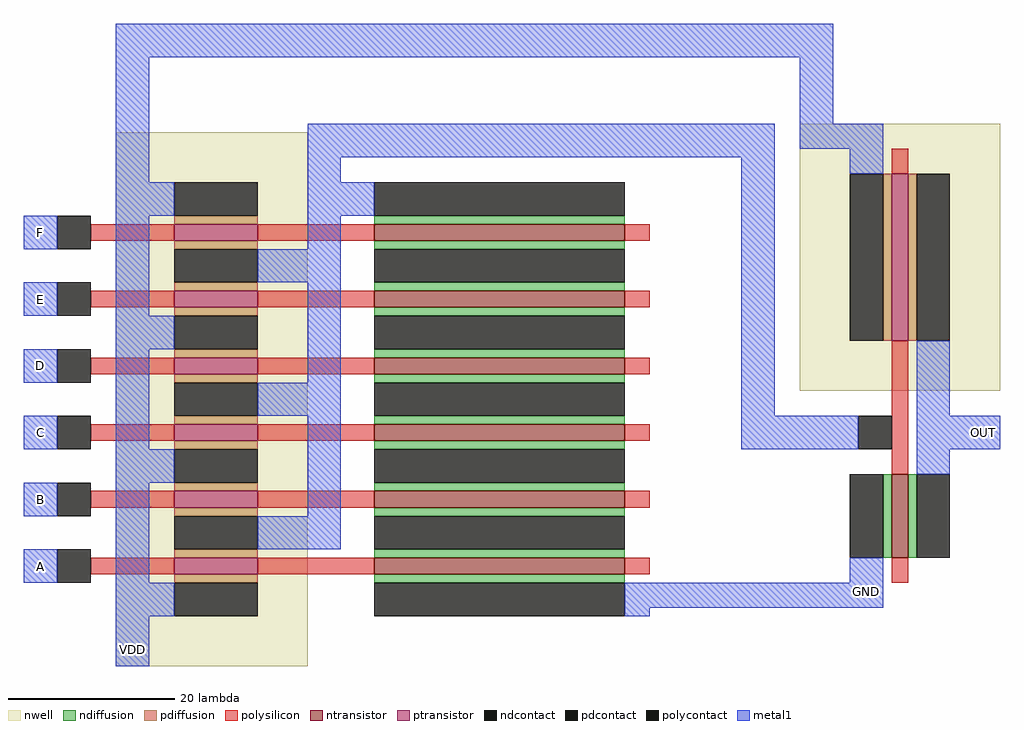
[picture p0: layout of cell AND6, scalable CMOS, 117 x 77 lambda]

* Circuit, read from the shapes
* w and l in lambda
.subckt AND6 A B C D E F GND OUT VDD
M1 n1 A GND VSUBS nfet w=30 l=2
M2 n2 B n1 VSUBS nfet w=30 l=2
M3 n3 C n2 VSUBS nfet w=30 l=2
M4 n4 D n3 VSUBS nfet w=30 l=2
M5 n5 E n4 VSUBS nfet w=30 l=2
M6 n6 F n5 VSUBS nfet w=30 l=2
M7 OUT n6 GND VSUBS nfet w=10 l=2
M8 n6 A VDD n7 pfet w=10 l=2
M9 VDD B n6 n7 pfet w=10 l=2
M10 n6 C VDD n7 pfet w=10 l=2
M11 VDD D n6 n7 pfet w=10 l=2
M12 n6 E VDD n7 pfet w=10 l=2
M13 VDD F n6 n7 pfet w=10 l=2
M14 OUT n6 VDD n8 pfet w=20 l=2
.ends

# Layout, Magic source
magic
tech scmos
<< nwell >>
rect 11 0 34 64
rect 93 33 117 65
<< ntransistor >>
rect 42 51 72 53
rect 42 43 72 45
rect 42 35 72 37
rect 42 27 72 29
rect 42 19 72 21
rect 104 13 106 23
rect 42 11 72 13
<< ptransistor >>
rect 18 51 28 53
rect 18 43 28 45
rect 104 39 106 59
rect 18 35 28 37
rect 18 27 28 29
rect 18 19 28 21
rect 18 11 28 13
<< ndiffusion >>
rect 42 53 72 54
rect 42 50 72 51
rect 42 45 72 46
rect 42 42 72 43
rect 42 37 72 38
rect 42 34 72 35
rect 42 29 72 30
rect 42 26 72 27
rect 42 21 72 22
rect 42 18 72 19
rect 42 13 72 14
rect 103 13 104 23
rect 106 13 107 23
rect 42 10 72 11
<< pdiffusion >>
rect 18 53 28 54
rect 18 50 28 51
rect 18 45 28 46
rect 18 42 28 43
rect 18 37 28 38
rect 103 39 104 59
rect 106 39 107 59
rect 18 34 28 35
rect 18 29 28 30
rect 18 26 28 27
rect 18 21 28 22
rect 18 18 28 19
rect 18 13 28 14
rect 18 10 28 11
<< ndcontact >>
rect 42 54 72 58
rect 42 46 72 50
rect 42 38 72 42
rect 42 30 72 34
rect 42 22 72 26
rect 42 14 72 18
rect 99 13 103 23
rect 107 13 111 23
rect 42 6 72 10
<< pdcontact >>
rect 18 54 28 58
rect 18 46 28 50
rect 18 38 28 42
rect 99 39 103 59
rect 107 39 111 59
rect 18 30 28 34
rect 18 22 28 26
rect 18 14 28 18
rect 18 6 28 10
<< polysilicon >>
rect 104 59 106 62
rect 8 51 18 53
rect 28 51 42 53
rect 72 51 75 53
rect 8 43 18 45
rect 28 43 42 45
rect 72 43 75 45
rect 8 35 18 37
rect 28 35 42 37
rect 72 35 75 37
rect 8 27 18 29
rect 28 27 42 29
rect 72 27 75 29
rect 104 23 106 39
rect 8 19 18 21
rect 28 19 42 21
rect 72 19 75 21
rect 8 11 18 13
rect 28 11 42 13
rect 72 11 75 13
rect 104 10 106 13
<< polycontact >>
rect 4 50 8 54
rect 4 42 8 46
rect 4 34 8 38
rect 4 26 8 30
rect 4 18 8 22
rect 100 26 104 30
rect 4 10 8 14
<< metal1 >>
rect 11 73 97 77
rect 11 58 15 73
rect 93 65 97 73
rect 34 61 90 65
rect 93 62 103 65
rect 34 58 38 61
rect 11 54 18 58
rect 34 54 42 58
rect 0 50 4 54
rect 0 42 4 46
rect 11 42 15 54
rect 34 50 38 54
rect 28 46 38 50
rect 11 38 18 42
rect 0 34 4 38
rect 0 26 4 30
rect 11 26 15 38
rect 34 34 38 46
rect 28 30 38 34
rect 86 30 90 61
rect 99 59 103 62
rect 107 30 111 39
rect 11 22 18 26
rect 0 18 4 22
rect 0 10 4 14
rect 11 10 15 22
rect 34 18 38 30
rect 86 26 100 30
rect 107 26 117 30
rect 107 23 111 26
rect 28 14 38 18
rect 99 10 103 13
rect 11 6 18 10
rect 72 7 103 10
rect 72 6 75 7
rect 11 0 15 6
<< labels >>
rlabel metal1 0 10 4 14 3 A
rlabel metal1 0 18 4 22 3 B
rlabel metal1 0 26 4 30 3 C
rlabel metal1 0 34 4 38 3 D
rlabel metal1 0 42 4 46 3 E
rlabel metal1 0 50 4 54 3 F
rlabel metal1 113 26 117 30 7 OUT
rlabel metal1 11 0 15 4 1 VDD
rlabel metal1 99 7 103 11 1 GND
<< end >>
